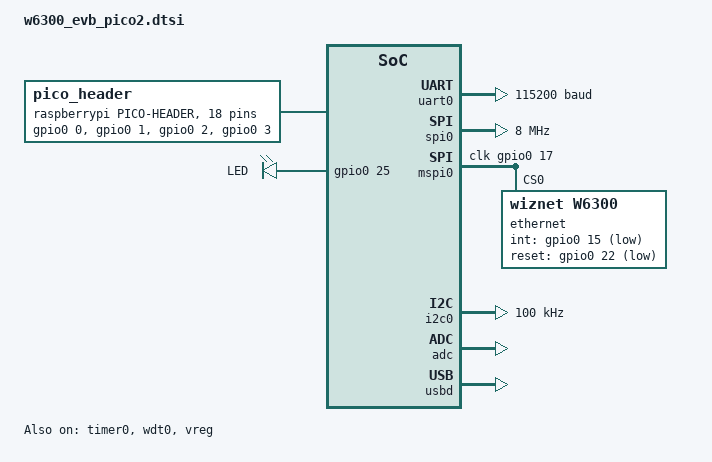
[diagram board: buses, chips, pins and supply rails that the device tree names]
/*
 * Copyright (c) 2025 WIZnet Co., Ltd.
 *
 * SPDX-License-Identifier: Apache-2.0
 */

#include <freq.h>

#include <zephyr/dt-bindings/clock/rpi_pico_clock_common.h>
#include <zephyr/dt-bindings/i2c/i2c.h>
#include <zephyr/dt-bindings/pwm/pwm.h>
#include <zephyr/dt-bindings/gpio/gpio.h>

#include "w6300_evb_pico2-pinctrl.dtsi"

/ {
	chosen {
		zephyr,sram = &sram0;
		zephyr,flash = &flash0;
		zephyr,console = &uart0;
		zephyr,shell-uart = &uart0;
	};

	pico_header: connector {
		compatible = "raspberrypi,pico-header";
		#gpio-cells = <2>;
		gpio-map-mask = <0xffffffff 0xffffffc0>;
		gpio-map-pass-thru = <0 0x3f>;
		gpio-map = <0 0 &gpio0 0 0>,	/* GP0 */
			   <1 0 &gpio0 1 0>,	/* GP1 */
			   <2 0 &gpio0 2 0>,	/* GP2 */
			   <3 0 &gpio0 3 0>,	/* GP3 */
			   <4 0 &gpio0 4 0>,	/* GP4 */
			   <5 0 &gpio0 5 0>,	/* GP5 */
			   <6 0 &gpio0 6 0>,	/* GP6 */
			   <7 0 &gpio0 7 0>,	/* GP7 */
			   <8 0 &gpio0 8 0>,	/* GP8 */
			   <9 0 &gpio0 9 0>,	/* GP9 */
			   <10 0 &gpio0 10 0>,	/* GP10 */
			   <11 0 &gpio0 11 0>,	/* GP11 */
			   <12 0 &gpio0 12 0>,	/* GP12 */
			   <13 0 &gpio0 13 0>,	/* GP13 */
			   <14 0 &gpio0 14 0>,	/* GP14 */
			   /* GP15-22 reserved for W6300 SPI/QSPI */
			   <26 0 &gpio0 26 0>,	/* GP26 */
			   <27 0 &gpio0 27 0>,	/* GP27 */
			   <28 0 &gpio0 28 0>; /* GP28 */
	};

	leds {
		compatible = "gpio-leds";

		led0: led_0 {
			gpios = <&gpio0 25 GPIO_ACTIVE_HIGH>;
			label = "LED";
		};
	};

	pwm_leds {
		compatible = "pwm-leds";
		status = "disabled";

		pwm_led0: pwm_led_0 {
			pwms = <&pwm 9 PWM_MSEC(20) PWM_POLARITY_NORMAL>;
			label = "PWM_LED";
		};
	};

	/*
	 * Single data line fallback for the W6300.  The W6300 signals are not
	 * routed to the RP2350 SPI0 pinmux, so this bus has to be bit-banged
	 * and only reaches 500 kHz.  The board therefore drives the W6300 over
	 * the PIO based MSPI controller (&mspi0) by default.  To fall back to
	 * single data line SPI, enable &spi_w6300 and &ethernet_spi and disable
	 * &mspi0 and &ethernet.
	 */
	spi_w6300: spi-bitbang {
		compatible = "zephyr,spi-bitbang";
		status = "disabled";
		#address-cells = <1>;
		#size-cells = <0>;
		clk-gpios = <&gpio0 17 GPIO_ACTIVE_HIGH>;
		sdo-gpios = <&gpio0 18 GPIO_ACTIVE_HIGH>;
		sdi-gpios = <&gpio0 19 GPIO_ACTIVE_HIGH>;
		cs-gpios = <&gpio0 16 GPIO_ACTIVE_LOW>;

		ethernet_spi: w6300@0 {
			compatible = "wiznet,w6300";
			reg = <0x0>;
			spi-max-frequency = <500000>;
			int-gpios = <&gpio0 15 (GPIO_ACTIVE_LOW | GPIO_PULL_UP)>;
			reset-gpios = <&gpio0 22 GPIO_ACTIVE_LOW>;
			zephyr,random-mac-address;
			status = "disabled";
		};
	};

	aliases {
		led0 = &led0;
		pwm-led0 = &pwm_led0;
		watchdog0 = &wdt0;
	};
};

&flash0 {
	reg = <0x10000000 DT_SIZE_M(2)>;
	ranges = <0x0 0x10000000 DT_SIZE_M(2)>;
	#address-cells = <1>;
	#size-cells = <1>;
};

&uart0 {
	current-speed = <115200>;
	status = "okay";
	pinctrl-0 = <&uart0_default>;
	pinctrl-names = "default";
};

&gpio0 {
	status = "okay";
};

&spi0 {
	clock-frequency = <DT_FREQ_M(8)>;
	pinctrl-0 = <&spi0_default>;
	pinctrl-names = "default";
};

/*
 * PIO QSPI bus for W6300
 *  CS  : GPIO16   CLK : GPIO17
 *  IO0 : GPIO18   IO1 : GPIO19
 *  IO2 : GPIO20   IO3 : GPIO21
 *  INT : GPIO15   RST : GPIO22
 */
&pio0 {
	status = "okay";

	mspi0: mspi0 {
		compatible = "raspberrypi,pico-mspi-pio";
		status = "okay";
		#address-cells = <1>;
		#size-cells = <0>;
		pinctrl-0 = <&pio0_qspi_default>;
		pinctrl-names = "default";
		clocks = <&clocks RPI_PICO_CLKID_CLK_SYS>;
		clk-gpios = <&gpio0 17 GPIO_ACTIVE_HIGH>;
		io0-gpios = <&gpio0 18 GPIO_ACTIVE_HIGH>;
		io1-gpios = <&gpio0 19 GPIO_ACTIVE_HIGH>;
		io2-gpios = <&gpio0 20 GPIO_ACTIVE_HIGH>;
		io3-gpios = <&gpio0 21 GPIO_ACTIVE_HIGH>;
		ce-gpios = <&gpio0 16 GPIO_ACTIVE_LOW>;
		dmas = <&dma 0 0 0>, <&dma 1 0 0>;
		dma-names = "tx", "rx";

		ethernet: w6300@0 {
			compatible = "wiznet,w6300";
			reg = <0>;
			mspi-max-frequency = <33000000>;
			mspi-io-mode = "MSPI_IO_MODE_QUAD_1_4_4";
			mspi-cpp-mode = "MSPI_CPP_MODE_0";
			mspi-ce-polarity = "MSPI_CE_ACTIVE_LOW";
			int-gpios = <&gpio0 15 (GPIO_ACTIVE_LOW | GPIO_PULL_UP)>;
			reset-gpios = <&gpio0 22 GPIO_ACTIVE_LOW>;
			zephyr,random-mac-address;
			status = "okay";
		};
	};
};

&dma {
	status = "okay";
};

&i2c0 {
	clock-frequency = <I2C_BITRATE_STANDARD>;
	pinctrl-0 = <&i2c0_default>;
	pinctrl-names = "default";
	status = "okay";
};

&adc {
	pinctrl-0 = <&adc_default>;
	pinctrl-names = "default";
	status = "okay";
};

&pwm {
	pinctrl-0 = <&pwm_ch4b_default>;
	pinctrl-names = "default";
	divider-int-0 = <255>;
};

&timer0 {
	status = "okay";
};

&wdt0 {
	status = "okay";
};

&vreg {
	status = "okay";
};

zephyr_udc0: &usbd {
	status = "okay";
};

pico_spi: &spi0 {};

pico_spi0: &spi0 {};

pico_i2c: &i2c0 {};

pico_i2c0: &i2c0 {};

pico_i2c1: &i2c1 {};

pico_serial: &uart0 {};

pico_serial0: &uart0 {};
